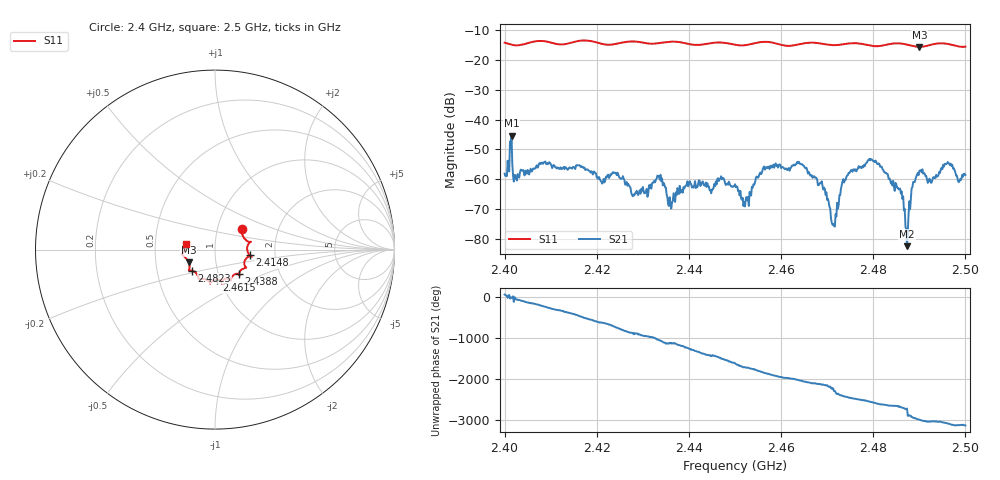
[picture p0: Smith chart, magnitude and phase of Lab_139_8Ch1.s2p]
# Hz S RI R 50
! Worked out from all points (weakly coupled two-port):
!   601 points, 2.4 GHz to 2.5 GHz, reference 50 ohm
!   highest |S21| = -45.37 dB at 2.4015 GHz (marker M1); lowest = -82.3 dB at 2.4873 GHz (marker M2)
!   lowest |S11| = -15.8 dB at 2.49 GHz (marker M3), VSWR 1.39, Z = 36.8 - j5.28 ohm
!   |S11| at or under -10 dB: start of sweep to end of sweep
!   S12 and S22 are empty: the file has one direction only
!   S11 on the Smith chart (normalised r, x): 2.4 GHz: 1.31, +0.32; 2.4148 GHz: 1.47, -0.10; 2.4388 GHz: 1.25, -0.35; 2.4615 GHz: 0.96, -0.34; 2.4823 GHz: 0.75, -0.18; 2.5 GHz: 0.72, +0.04
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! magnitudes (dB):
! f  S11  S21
! 2.4 GHz  -14.4  -58.1
! 2.4015 GHz  -15.0  -45.4
! 2.4023 GHz  -15.2  -58.5
! 2.4148 GHz  -14.2  -55.8
! 2.4167 GHz  -13.6  -55.6
! 2.428 GHz  -14.0  -65.0
! 2.4333 GHz  -14.5  -58.9
! 2.436 GHz  -14.0  -68.3
! 2.4388 GHz  -14.4  -62.6
! 2.45 GHz  -15.0  -61.6
! 2.4525 GHz  -15.1  -65.9
! 2.4565 GHz  -14.1  -56.7
! 2.4615 GHz  -15.4  -56.5
! 2.4667 GHz  -14.3  -58.6
! 2.4713 GHz  -15.2  -74.9
! 2.4748 GHz  -14.6  -57.8
! 2.4823 GHz  -15.2  -57.5
! 2.4833 GHz  -14.9  -59.8
! 2.486 GHz  -14.6  -64.8
! 2.4873 GHz  -15.0  -82.3
! 2.49 GHz  -15.8  -57.2
! 2.5 GHz  -15.7  -58.5
